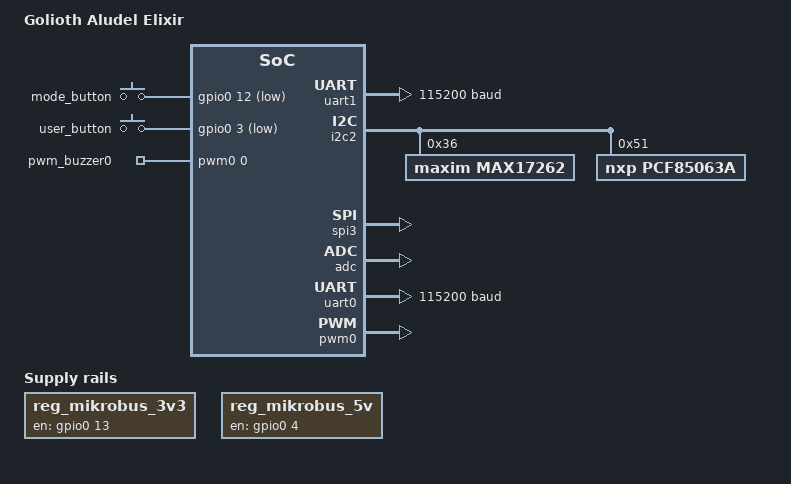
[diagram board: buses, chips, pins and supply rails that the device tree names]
/*
 * Copyright (c) 2018-2020 Nordic Semiconductor ASA
 * Copyright (c) 2023 Golioth, Inc.
 *
 * SPDX-License-Identifier: Apache-2.0
 */

#include "aludel_elixir_common-pinctrl.dtsi"

/ {
	model = "Golioth Aludel Elixir";
	compatible = "golioth,aludel-elixir";

	chosen {
		zephyr,console = &uart0;
		zephyr,shell-uart = &uart0;
		zephyr,uart-mcumgr = &uart0;
		nordic,modem-trace-uart = &uart1;
	};

	buttons {
		compatible = "gpio-keys";

		mode_button: mode-button {
			gpios = <&gpio0 12 (GPIO_PULL_UP | GPIO_ACTIVE_LOW)>;
		};

		user_button: user-button {
			gpios = <&gpio0 3 (GPIO_PULL_UP | GPIO_ACTIVE_LOW)>;
		};
	};

	pwm-buzzers {
		compatible = "pwm-leds";

		pwm_buzzer0: pwm-buzzer-0 {
			pwms = <&pwm0 0 PWM_HZ(440) PWM_POLARITY_NORMAL>;
		};
	};

	reg_mikrobus_3v3: reg-mikrobus-3v3 {
		compatible = "regulator-fixed";
		regulator-name = "reg-mikrobus-3v3";
		enable-gpios = <&gpio0 13 GPIO_ACTIVE_HIGH>;
		regulator-boot-on;
		startup-delay-us = <2000>;
		off-on-delay-us = <2000>;
	};

	reg_mikrobus_5v: reg-mikrobus-5v {
		compatible = "regulator-fixed";
		regulator-name = "reg-mikrobus-5v";
		enable-gpios = <&gpio0 4 GPIO_ACTIVE_HIGH>;
		regulator-boot-on;
		startup-delay-us = <2000>;
		off-on-delay-us = <2000>;
	};

	aliases {
		sw0 = &mode_button;
		sw1 = &user_button;
		mcuboot-button0 = &mode_button;
		watchdog0 = &wdt0;
		pwm-buzzer0 = &pwm_buzzer0;
		rtc0 = &pcf85063a;
		mikrobus-serial = &mikrobus_serial;
		mikrobus-i2c = &mikrobus_i2c;
		mikrobus-spi = &mikrobus_spi;
		/* Deprecated click-* aliases (use mikrobus-* aliases instead) */
		click-uart = &mikrobus_serial;
		click-i2c = &mikrobus_i2c;
	};
};

/* mikroBUS interface node labels */
mikrobus_serial: &uart1 {};
mikrobus_i2c: &i2c2 {};
mikrobus_spi: &spi3 {};

/* QWIIC interface node labels */
qwiic_i2c: &i2c2 {};

&adc {
	status = "okay";
};

&gpiote {
	status = "okay";
};

&gpio0 {
	status = "okay";
};

&uart0 {
	status = "okay";
	current-speed = <115200>;
	pinctrl-0 = <&uart0_default>;
	pinctrl-1 = <&uart0_sleep>;
	pinctrl-names = "default", "sleep";
};

&uart1 {
	status = "okay";
	current-speed = <115200>;
	pinctrl-0 = <&uart1_default>;
	pinctrl-1 = <&uart1_sleep>;
	pinctrl-names = "default", "sleep";
};

&i2c2 {
	status = "okay";
	pinctrl-0 = <&i2c2_default>;
	pinctrl-1 = <&i2c2_sleep>;
	pinctrl-names = "default", "sleep";

	max17262@36 {
		compatible = "maxim,max17262";
		reg = <0x36>;
		design-voltage = <4200>;
		desired-voltage = <3700>;
		desired-charging-current = <800>;
		design-cap = <850>;
		empty-voltage = <3300>;
		recovery-voltage = <3880>;
		charge-voltage = <4200>;
		status = "okay";
	};

	/* Needs external driver: https://github.com/circuitdojo/pcf85063a */
	pcf85063a: pcf85063a@51 {
		compatible = "nxp,pcf85063a";
		reg = <0x51>;
	};

	/* TODO: add a node for ATECC608A once it is supported in Zephyr
	 * https://github.com/zephyrproject-rtos/zephyr/pull/69920
	 */
};

&spi3 {
	status = "okay";
	pinctrl-0 = <&spi3_default>;
	pinctrl-1 = <&spi3_sleep>;
	pinctrl-names = "default", "sleep";
	cs-gpios = <&mikrobus_header_1 2 GPIO_ACTIVE_LOW>, /* CLICK_CS1 */
	           <&mikrobus_header_2 2 GPIO_ACTIVE_LOW>; /* CLICK_CS2 */
};

&pwm0 {
	status = "okay";
	pinctrl-0 = <&pwm0_default>;
	pinctrl-1 = <&pwm0_sleep>;
	pinctrl-names = "default", "sleep";
};

&flash0 {
	partitions {
		compatible = "fixed-partitions";
		#address-cells = <1>;
		#size-cells = <1>;

		boot_partition: partition@0 {
			label = "mcuboot";
			reg = <0x00000000 0x10000>;
		};

		slot0_partition: partition@10000 {
			label = "image-0";
		};

		slot0_ns_partition: partition@50000 {
			label = "image-0-nonsecure";
		};

		slot1_partition: partition@80000 {
			label = "image-1";
		};

		slot1_ns_partition: partition@c0000 {
			label = "image-1-nonsecure";
		};

		/* 0xf0000 to 0xf7fff reserved for TF-M partitions */
		storage_partition: partition@f8000 {
			label = "storage";
			reg = <0x000f8000 0x00008000>;
		};
	};
};

/ {
	reserved-memory {
		#address-cells = <1>;
		#size-cells = <1>;
		ranges;

		sram0_s: image_s@20000000 {
			/* Secure image memory */
		};

		sram0_modem: image_modem@20016000 {
			/* Modem (shared) memory */
		};

		sram0_ns: image_ns@20020000 {
			/* Non-Secure image memory */
		};
	};
};

/* Include partition configuration file */
#include "aludel_elixir_partition_conf.dtsi"
